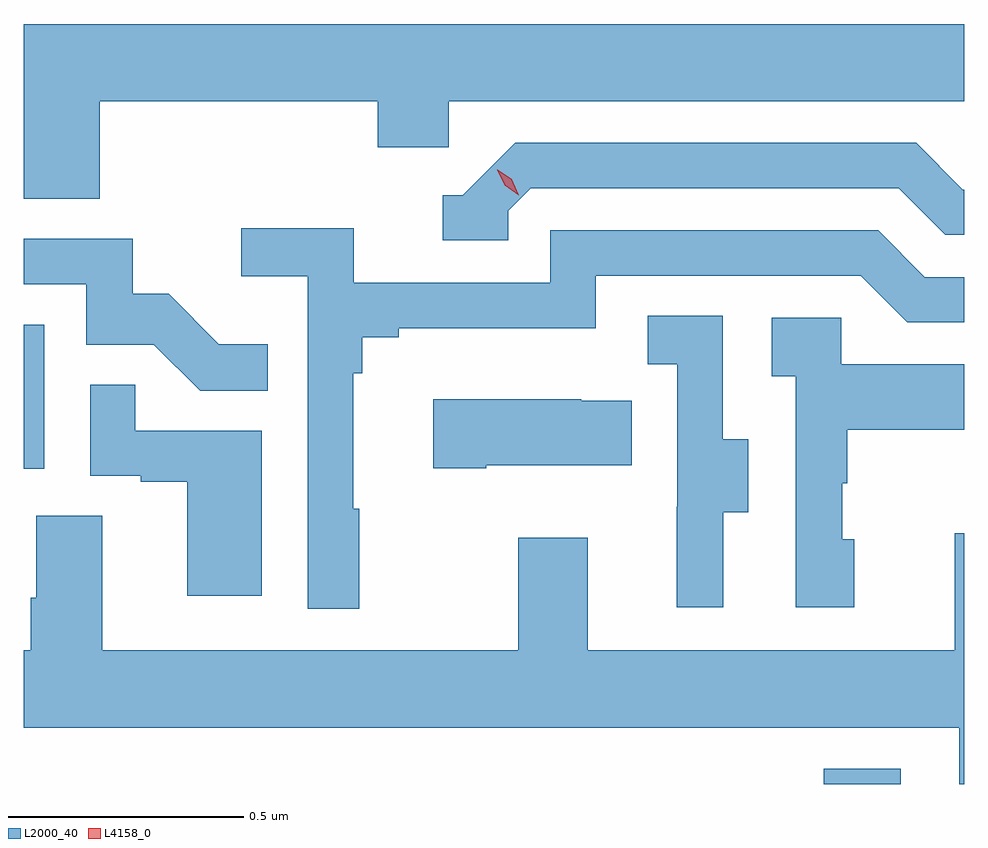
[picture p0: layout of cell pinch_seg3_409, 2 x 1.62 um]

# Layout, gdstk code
import gdstk
lib = gdstk.Library(unit=1e-6, precision=1e-09)
def R(c, l, rs):  # rectangles x0, y0, x1, y1
    for r in rs: c.add(gdstk.rectangle(r[:2], r[2:], *l))
def P(c, l, *ps):  # polygons
    for p in ps: c.add(gdstk.Polygon(p, *l))
L2000_40 = (2000, 40)
L4158_0 = (4158, 0)

pinch_seg3_409 = lib.new_cell('pinch_seg3_409')
R(pinch_seg3_409, L2000_40, [(935.483,696.8,935.647,696.832), (933.782,697.47,933.826,697.777)])
P(pinch_seg3_409, L2000_40, [(933.944,698.252),(934.535,698.252),(934.535,698.154),(934.686,698.154),(934.686,698.252),(935.782,698.252),(935.782,698.416),(933.782,698.416),(933.782,698.044),(933.944,698.044)],
  [(934.812,698.019),(934.86,698.067),(935.643,698.067),(935.742,697.968),(935.782,697.968),(935.782,698.064),(935.779,698.064),(935.68,698.163),(934.827,698.163),(934.716,698.052),(934.673,698.052),(934.673,697.956),(934.812,697.956)],
  [(934.495,697.385),(934.483,697.385),(934.483,697.673),(934.502,697.673),(934.502,697.75),(934.579,697.75),(934.579,697.769),(934.998,697.769),(934.998,697.881),(935.562,697.881),(935.661,697.782),(935.782,697.782),(935.782,697.878),(935.698,697.878),(935.599,697.977),(934.902,697.977),(934.902,697.866),(934.484,697.866),(934.484,697.982),(934.245,697.982),(934.245,697.88),(934.386,697.88),(934.386,697.173),(934.495,697.173)],
  [(934.301,697.735),(934.197,697.735),(934.09,697.842),(934.014,697.842),(934.014,697.959),(933.782,697.959),(933.782,697.863),(933.915,697.863),(933.915,697.734),(934.059,697.734),(934.157,697.636),(934.301,697.636)],
  [(935.269,697.378),(935.323,697.378),(935.323,697.533),(935.268,697.533),(935.268,697.796),(935.109,697.796),(935.109,697.693),(935.172,697.693),(935.172,697.389),(935.171,697.389),(935.171,697.176),(935.269,697.176)],
  [(935.548,697.32),(935.523,697.32),(935.523,697.439),(935.533,697.439),(935.533,697.553),(935.782,697.553),(935.782,697.693),(935.52,697.693),(935.52,697.791),(935.373,697.791),(935.373,697.667),(935.424,697.667),(935.424,697.176),(935.548,697.176)],
  [(934.288,697.551),(934.019,697.551),(934.019,697.649),(933.924,697.649),(933.924,697.455),(934.031,697.455),(934.031,697.443),(934.13,697.443),(934.13,697.2),(934.288,697.2)],
  [(934.765,697.478),(935.075,697.478),(935.075,697.615),(934.967,697.615),(934.967,697.618),(934.653,697.618),(934.653,697.471),(934.765,697.471)],
  [(935.782,697.333),(935.762,697.333),(935.762,697.084),(934.981,697.084),(934.981,697.324),(934.834,697.324),(934.834,697.084),(933.949,697.084),(933.949,697.37),(933.809,697.37),(933.809,697.196),(933.797,697.196),(933.797,697.084),(933.782,697.084),(933.782,696.92),(935.771,696.92),(935.771,696.8),(935.782,696.8)])
P(pinch_seg3_409, L4158_0, [(934.835,698.052),(934.805,698.073),(934.789,698.106),(934.789,698.106),(934.79,698.106),(934.82,698.086),(934.835,698.052),(934.835,698.052)])

lib.write_gds('pinch_seg3_409.gds')
